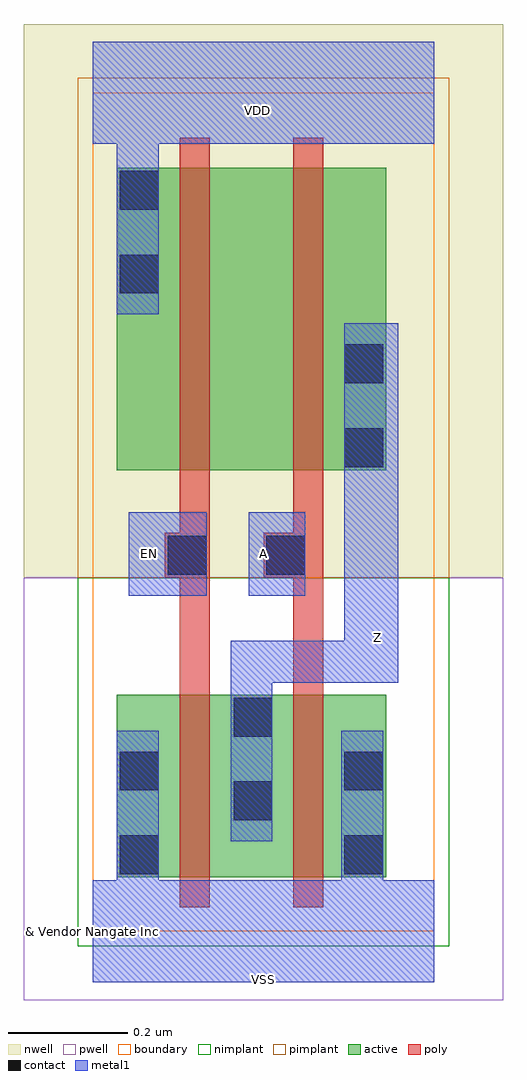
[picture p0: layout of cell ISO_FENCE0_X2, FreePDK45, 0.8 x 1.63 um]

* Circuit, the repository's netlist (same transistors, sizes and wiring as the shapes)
* 
* ******************************************************************************
* *                                                                            *
* *                   Copyright (C) 2004-2011, Nangate Inc.                    *
* *                           All rights reserved.                             *
* *                                                                            *
* * Nangate and the Nangate logo are trademarks of Nangate Inc.                *
* *                                                                            *
* * All trademarks, logos, software marks, and trade names (collectively the   *
* * "Marks") in this program are proprietary to Nangate or other respective    *
* * owners that have granted Nangate the right and license to use such Marks.  *
* * You are not permitted to use the Marks without the prior written consent   *
* * of Nangate or such third party that may own the Marks.                     *
* *                                                                            *
* * This file has been provided pursuant to a License Agreement containing     *
* * restrictions on its use. This file contains valuable trade secrets and     *
* * proprietary information of Nangate Inc., and is protected by U.S. and      *
* * international laws and/or treaties.                                        *
* *                                                                            *
* * The copyright notice(s) in this file does not indicate actual or intended  *
* * publication of this file.                                                  *
* *                                                                            *
* *     NGLibraryCreator, v2010.08-HR32-SP3-2010-08-05 - build 1009061800      *
* *                                                                            *
* ******************************************************************************
* 
* 
* Running on server08.nangate.com for user Giancarlo Franciscatto (gfr).
* Local time is now Thu, 6 Jan 2011, 19:45:45.
* Main process id is 3320.
*
********************************************************************************
*                                                                              *
* Cellname:   ISO_FENCE0_X2.                                                   *
*                                                                              *
* Technology: NCSU FreePDK 45nm.                                               *
* Format:     Cdl.                                                             *
*                                                                              *
* Written on server08.nangate.com for user Giancarlo Franciscatto (gfr)        *
* at 19:45:45 on Thu, 6 Jan 2011.                                              *
*                                                                              *
********************************************************************************
.SUBCKT ISO_FENCE0_X2 A EN Z VDD VSS 
*.PININFO A:I EN:I Z:O VDD:P VSS:G 
*.EQN Z=!(A + EN)
M_i_0 Z EN VSS VSS NMOS_VTL W=0.305000U L=0.050000U
M_i_7 VSS A Z VSS NMOS_VTL W=0.305000U L=0.050000U
M_i_13 net_000 EN VDD VDD PMOS_VTL W=0.505000U L=0.050000U
M_i_18 Z A net_000 VDD PMOS_VTL W=0.505000U L=0.050000U
.ENDS 

********************************************************************************
*
* END
*
********************************************************************************

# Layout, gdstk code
import gdstk
lib = gdstk.Library(unit=1e-6, precision=1e-10)
def R(c, l, rs):  # rectangles x0, y0, x1, y1
    for r in rs: c.add(gdstk.rectangle(r[:2], r[2:], *l))
def P(c, l, *ps):  # polygons
    for p in ps: c.add(gdstk.Polygon(p, *l))
active = (1, 0)
pwell = (2, 0)
nwell = (3, 0)
nimplant = (4, 0)
pimplant = (5, 0)
poly = (9, 0)
contact = (10, 0)
metal1 = (11, 0)
boundary = (235, 0)

iso_fence0_x2 = lib.new_cell('ISO_FENCE0_X2')
R(iso_fence0_x2, active, [(0.04,0.09,0.49,0.395), (0.04,0.77,0.49,1.275)])
R(iso_fence0_x2, pwell, [(-0.115,-0.115,0.685,0.59)])
R(iso_fence0_x2, nwell, [(-0.115,0.59,0.685,1.515)])
R(iso_fence0_x2, nimplant, [(-0.025,-0.025,0.595,0.59)])
R(iso_fence0_x2, pimplant, [(-0.025,0.59,0.595,1.425)])
P(iso_fence0_x2, poly, [(0.12,0.59),(0.145,0.59),(0.145,0.04),(0.195,0.04),(0.195,1.325),(0.145,1.325),(0.145,0.665),(0.12,0.665)],
  [(0.285,0.59),(0.335,0.59),(0.335,0.04),(0.385,0.04),(0.385,1.325),(0.335,1.325),(0.335,0.665),(0.285,0.665)])
R(iso_fence0_x2, contact, [(0.045,0.095,0.11,0.16), (0.42,0.095,0.485,0.16), (0.235,0.185,0.3,0.25), (0.045,0.235,0.11,0.3), (0.42,0.235,0.485,0.3), (0.235,0.325,0.3,0.39), (0.125,0.595,0.19,0.66), (0.29,0.595,0.355,0.66), (0.42,0.775,0.485,0.84), (0.42,0.915,0.485,0.98), (0.045,1.065,0.11,1.13), (0.045,1.205,0.11,1.27)])
R(iso_fence0_x2, metal1, [(0.06,0.56,0.19,0.7), (0.26,0.56,0.355,0.7)])
P(iso_fence0_x2, metal1, [(0.23,0.15),(0.3,0.15),(0.3,0.415),(0.51,0.415),(0.51,1.015),(0.42,1.015),(0.42,0.485),(0.23,0.485)],
  [(0,-0.085),(0.57,-0.085),(0.57,0.085),(0.485,0.085),(0.485,0.335),(0.415,0.335),(0.415,0.085),(0.11,0.085),(0.11,0.335),(0.04,0.335),(0.04,0.085),(0,0.085)],
  [(0,1.315),(0.04,1.315),(0.04,1.03),(0.11,1.03),(0.11,1.315),(0.57,1.315),(0.57,1.485),(0,1.485)])
R(iso_fence0_x2, boundary, [(0,0,0.57,1.4)])
iso_fence0_x2.add(gdstk.Label('A', (0.285,0.63), layer=11, texttype=0))
iso_fence0_x2.add(gdstk.Label('EN', (0.095,0.63), layer=11, texttype=0))
iso_fence0_x2.add(gdstk.Label('VDD', (0.275,1.37), layer=11, texttype=0))
iso_fence0_x2.add(gdstk.Label('VSS', (0.285,-0.08), layer=11, texttype=0))
iso_fence0_x2.add(gdstk.Label('Z', (0.475,0.49), layer=11, texttype=0))
iso_fence0_x2.add(gdstk.Label('& Vendor Nangate Inc', (0,0), layer=63, texttype=63))
iso_fence0_x2.add(gdstk.Label('& Product Open Cell Library', (0,0), layer=63, texttype=63))
iso_fence0_x2.add(gdstk.Label('& Version 2010_12', (0,0), layer=63, texttype=63))
iso_fence0_x2.add(gdstk.Label('& Instance ISO_FENCE0_X2', (0,0), layer=63, texttype=63))

lib.write_gds('ISO_FENCE0_X2.gds')
